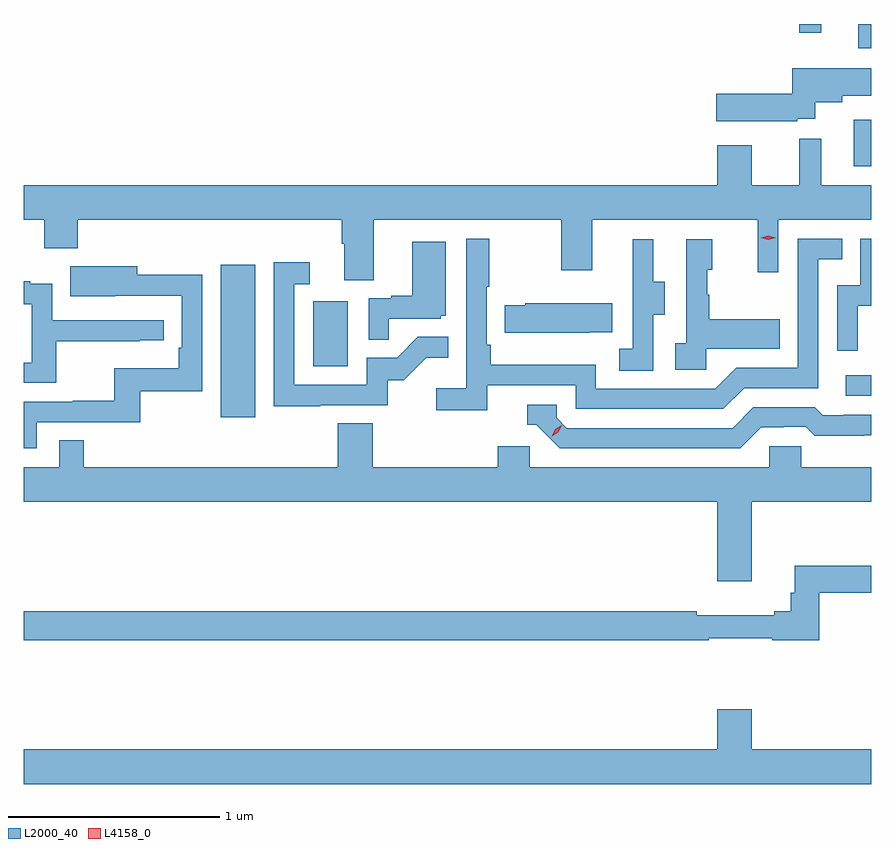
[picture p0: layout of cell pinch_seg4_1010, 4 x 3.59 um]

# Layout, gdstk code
import gdstk
lib = gdstk.Library(unit=1e-6, precision=1e-09)
def R(c, l, rs):  # rectangles x0, y0, x1, y1
    for r in rs: c.add(gdstk.rectangle(r[:2], r[2:], *l))
def P(c, l, *ps):  # polygons
    for p in ps: c.add(gdstk.Polygon(p, *l))
L2000_40 = (2000, 40)
L4158_0 = (4158, 0)

pinch_seg4_1010 = lib.new_cell('pinch_seg4_1010')
R(pinch_seg4_1010, L2000_40, [(798.029,773.244,798.19,773.965), (800.979,773.346,801.099,773.442), (798.464,773.484,798.628,773.791), (801.017,774.429,801.099,774.649), (801.038,774.986,801.099,775.101), (800.759,775.059,800.863,775.101)])
P(pinch_seg4_1010, L2000_40, [(800.751,774.653),(800.836,774.653),(800.836,774.731),(800.962,774.731),(800.962,774.763),(801.099,774.763),(801.099,774.892),(800.726,774.892),(800.726,774.771),(800.367,774.771),(800.367,774.641),(800.751,774.641)],
  [(798.751,774.176),(799.636,774.176),(799.636,773.937),(799.783,773.937),(799.783,774.176),(800.564,774.176),(800.564,773.928),(800.661,773.928),(800.661,774.176),(801.099,774.176),(801.099,774.34),(800.863,774.34),(800.863,774.56),(800.759,774.56),(800.759,774.34),(800.536,774.34),(800.536,774.529),(800.372,774.529),(800.372,774.34),(797.099,774.34),(797.099,774.176),(797.194,774.176),(797.194,774.041),(797.354,774.041),(797.354,774.176),(798.599,774.176),(798.599,774.064),(798.611,774.064),(798.611,773.89),(798.751,773.89)],
  [(799.286,773.394),(799.704,773.394),(799.704,773.283),(800.401,773.283),(800.5,773.382),(800.85,773.382),(800.85,773.991),(800.963,773.991),(800.963,774.087),(800.754,774.087),(800.754,773.478),(800.463,773.478),(800.364,773.379),(799.8,773.379),(799.8,773.491),(799.304,773.491),(799.304,773.587),(799.284,773.587),(799.284,773.86),(799.297,773.86),(799.297,774.088),(799.188,774.088),(799.188,773.38),(799.047,773.38),(799.047,773.278),(799.286,773.278)],
  [(801.036,773.771),(801.099,773.771),(801.099,774.087),(801.048,774.087),(801.048,773.868),(800.94,773.868),(800.94,773.559),(801.036,773.559)],
  [(800.322,773.567),(800.669,773.567),(800.669,773.707),(800.335,773.707),(800.335,773.822),(800.325,773.822),(800.325,773.94),(800.35,773.94),(800.35,774.085),(800.226,774.085),(800.226,773.594),(800.175,773.594),(800.175,773.469),(800.322,773.469)],
  [(800.07,773.728),(800.125,773.728),(800.125,773.883),(800.071,773.883),(800.071,774.085),(799.973,774.085),(799.973,773.871),(799.974,773.871),(799.974,773.567),(799.911,773.567),(799.911,773.464),(800.07,773.464)],
  [(798.821,773.709),(799.068,773.709),(799.068,773.724),(799.09,773.724),(799.09,774.073),(798.932,774.073),(798.932,773.818),(798.833,773.818),(798.833,773.805),(798.726,773.805),(798.726,773.611),(798.821,773.611)],
  [(798.497,773.301),(798.816,773.301),(798.816,773.418),(798.892,773.418),(798.999,773.525),(799.103,773.525),(799.103,773.624),(798.959,773.624),(798.861,773.526),(798.717,773.526),(798.717,773.397),(798.375,773.397),(798.375,773.871),(798.448,773.871),(798.448,773.977),(798.279,773.977),(798.279,773.296),(798.497,773.296)],
  [(797.16,773.22),(797.647,773.22),(797.647,773.367),(797.94,773.367),(797.94,773.918),(797.635,773.918),(797.635,773.956),(797.317,773.956),(797.317,773.816),(797.531,773.816),(797.531,773.817),(797.844,773.817),(797.844,773.572),(797.831,773.572),(797.831,773.476),(797.526,773.476),(797.526,773.321),(797.329,773.321),(797.329,773.316),(797.099,773.316),(797.099,773.097),(797.16,773.097)],
  [(797.252,773.602),(797.645,773.602),(797.645,773.607),(797.758,773.607),(797.758,773.703),(797.232,773.703),(797.232,773.875),(797.129,773.875),(797.129,773.887),(797.099,773.887),(797.099,773.778),(797.136,773.778),(797.136,773.502),(797.099,773.502),(797.099,773.406),(797.252,773.406)],
  [(799.769,773.645),(799.877,773.645),(799.877,773.782),(799.467,773.782),(799.467,773.772),(799.369,773.772),(799.369,773.642),(799.769,773.642)],
  [(800.581,773.196),(800.688,773.196),(800.688,773.199),(800.791,773.199),(800.833,773.157),(801.066,773.157),(801.066,773.159),(801.099,773.159),(801.099,773.256),(800.971,773.256),(800.971,773.253),(800.872,773.253),(800.833,773.292),(800.544,773.292),(800.445,773.193),(799.662,773.193),(799.614,773.241),(799.614,773.304),(799.475,773.304),(799.475,773.208),(799.518,773.208),(799.629,773.097),(800.482,773.097)],
  [(800.536,772.844),(801.099,772.844),(801.099,773.008),(800.769,773.008),(800.769,773.106),(800.619,773.106),(800.619,773.008),(799.488,773.008),(799.488,773.106),(799.337,773.106),(799.337,773.008),(798.746,773.008),(798.746,773.216),(798.581,773.216),(798.581,773.008),(797.381,773.008),(797.381,773.135),(797.265,773.135),(797.265,773.008),(797.099,773.008),(797.099,772.844),(800.372,772.844),(800.372,772.47),(800.536,772.47)],
  [(800.332,772.2),(800.632,772.2),(800.632,772.192),(800.855,772.192),(800.855,772.414),(801.099,772.414),(801.099,772.543),(800.738,772.543),(800.738,772.416),(800.719,772.416),(800.719,772.328),(800.642,772.328),(800.642,772.309),(800.276,772.309),(800.276,772.328),(797.099,772.328),(797.099,772.192),(800.332,772.192)],
  [(801.099,771.676),(800.536,771.676),(800.536,771.865),(800.372,771.865),(800.372,771.676),(797.099,771.676),(797.099,771.512),(801.099,771.512)])
P(pinch_seg4_1010, L4158_0, [(800.614,774.081),(800.578,774.091),(800.578,774.091),(800.578,774.092),(800.614,774.101),(800.649,774.092),(800.65,774.091),(800.649,774.091)],
  [(799.591,773.154),(799.591,773.154),(799.608,773.187),(799.638,773.207),(799.639,773.207),(799.639,773.206),(799.622,773.174),(799.592,773.154)])

lib.write_gds('pinch_seg4_1010.gds')
